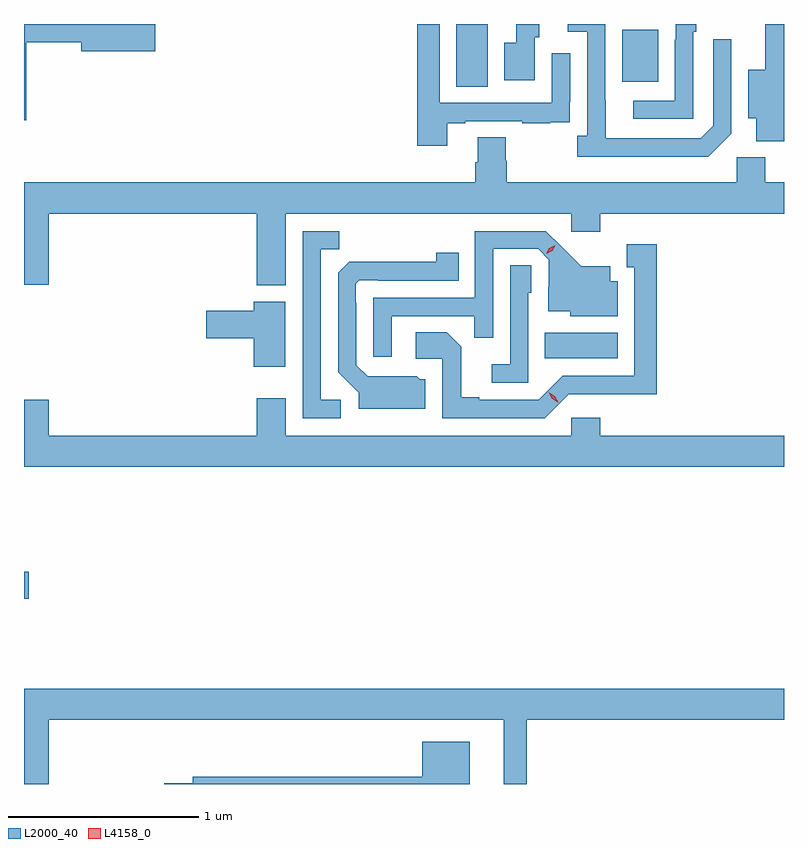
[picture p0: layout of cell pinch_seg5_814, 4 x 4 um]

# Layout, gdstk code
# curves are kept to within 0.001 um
import gdstk
lib = gdstk.Library(unit=1e-6, precision=1e-09)
def R(c, l, rs):  # rectangles x0, y0, x1, y1
    for r in rs: c.add(gdstk.rectangle(r[:2], r[2:], *l))
def P(c, l, *ps):  # polygons
    for p in ps: c.add(gdstk.Polygon(p, *l))
L2000_40 = (2000, 40)
L4158_0 = (4158, 0)

pinch_seg5_814 = lib.new_cell('pinch_seg5_814')
R(pinch_seg5_814, L2000_40, [(776.43,890.698,776.455,890.84), (779.17,891.962,779.554,892.096), (778.706,893.392,778.87,893.722), (779.579,893.417,779.767,893.692)])
P(pinch_seg5_814, L2000_40, [(780.153,893.145),(780.153,893.641),(780.057,893.641),(780.057,893.187),(779.991,893.121),(779.491,893.121),(779.49,893.722),(779.292,893.722),(779.292,893.682),(779.394,893.682),(779.394,893.134),(779.343,893.134),(779.343,893.024),(780.032,893.024)],
  [(779.952,893.681),(779.967,893.681),(779.967,893.722),(779.859,893.722),(779.859,893.639),(779.856,893.639),(779.856,893.319),(779.637,893.319),(779.637,893.223),(779.952,893.223)],
  [(779.119,893.652),(779.143,893.652),(779.143,893.722),(779.021,893.722),(779.021,893.623),(778.958,893.623),(778.958,893.427),(779.119,893.427)],
  [(778.657,893.199),(778.753,893.199),(778.753,893.211),(779.053,893.211),(779.053,893.199),(779.201,893.199),(779.201,893.205),(779.303,893.205),(779.303,893.314),(779.304,893.314),(779.304,893.569),(779.208,893.569),(779.208,893.307),(778.617,893.307),(778.617,893.722),(778.501,893.722),(778.501,893.082),(778.657,893.082)],
  [(780.43,893.722),(780.332,893.722),(780.332,893.482),(780.242,893.482),(780.242,893.225),(780.284,893.225),(780.284,893.106),(780.43,893.106)],
  [(776.441,893.626),(776.732,893.626),(776.732,893.579),(777.121,893.579),(777.121,893.721),(776.86,893.721),(776.86,893.722),(776.43,893.722),(776.43,893.216),(776.441,893.216)],
  [(777.808,892.724),(779.31,892.724),(779.31,892.629),(779.462,892.629),(779.462,892.724),(780.43,892.724),(780.43,892.888),(780.332,892.888),(780.332,893.02),(780.18,893.02),(780.18,892.888),(778.97,892.888),(778.97,893.001),(778.965,893.001),(778.965,893.126),(778.817,893.126),(778.817,892.994),(778.805,892.994),(778.805,892.888),(776.43,892.888),(776.43,892.35),(776.56,892.35),(776.56,892.724),(777.656,892.724),(777.656,892.346),(777.808,892.346)],
  [(778.365,892.185),(778.801,892.185),(778.801,892.072),(778.899,892.072),(778.899,892.539),(779.136,892.539),(779.193,892.482),(779.193,892.34),(779.189,892.34),(779.189,892.211),(779.304,892.211),(779.304,892.184),(779.554,892.184),(779.554,892.369),(779.515,892.369),(779.515,892.447),(779.363,892.447),(779.176,892.632),(778.803,892.632),(778.803,892.281),(778.269,892.281),(778.269,891.972),(778.365,891.972)],
  [(778.096,891.744),(777.993,891.744),(777.993,892.537),(778.089,892.537),(778.089,892.632),(777.897,892.632),(777.897,891.648),(778.096,891.648)],
  [(779.298,891.774),(779.761,891.773),(779.761,892.564),(779.603,892.564),(779.603,892.443),(779.642,892.443),(779.642,891.87),(779.265,891.87),(779.139,891.744),(778.825,891.744),(778.825,891.757),(778.731,891.757),(778.731,892.024),(778.655,892.1),(778.491,892.1),(778.491,891.96),(778.632,891.96),(778.632,891.648),(779.172,891.648)],
  [(778.543,891.852),(778.512,891.852),(778.496,891.868),(778.239,891.867),(778.179,891.927),(778.179,892.256),(778.176,892.256),(778.176,892.356),(778.194,892.374),(778.294,892.374),(778.294,892.371),(778.718,892.371),(778.718,892.519),(778.6,892.519),(778.6,892.472),(778.142,892.471),(778.083,892.412),(778.083,891.89),(778.193,891.78),(778.193,891.698),(778.543,891.698)],
  [(779.085,892.308),(779.1,892.308),(779.1,892.451),(778.989,892.451),(778.989,891.931),(778.893,891.931),(778.893,891.834),(779.085,891.834)],
  [(777.805,892.261),(777.638,892.261),(777.638,892.214),(777.39,892.214),(777.39,892.067),(777.638,892.067),(777.638,891.918),(777.805,891.918)],
  [(780.43,891.556),(779.462,891.556),(779.462,891.649),(779.31,891.649),(779.31,891.556),(777.808,891.556),(777.808,891.751),(777.656,891.751),(777.656,891.556),(776.56,891.556),(776.56,891.745),(776.43,891.745),(776.43,891.392),(780.43,891.392)],
  [(776.56,890.06),(778.955,890.06),(778.955,889.722),(779.077,889.722),(779.077,890.06),(780.43,890.06),(780.43,890.224),(776.43,890.224),(776.43,889.722),(776.56,889.722)],
  [(778.777,889.945),(778.526,889.945),(778.526,889.759),(777.317,889.759),(777.317,889.725),(777.168,889.725),(777.168,889.722),(778.777,889.722)])
P(pinch_seg5_814, L4158_0, [(779.178,892.513),(779.178,892.513),(779.195,892.543),(779.226,892.558),(779.226,892.558),(779.226,892.558),(779.209,892.528),(779.178,892.513)],
  [(779.24,891.731),(779.209,891.75),(779.192,891.783),(779.192,891.783),(779.192,891.783),(779.223,891.764),(779.241,891.731),(779.241,891.731)])

lib.write_gds('pinch_seg5_814.gds')
